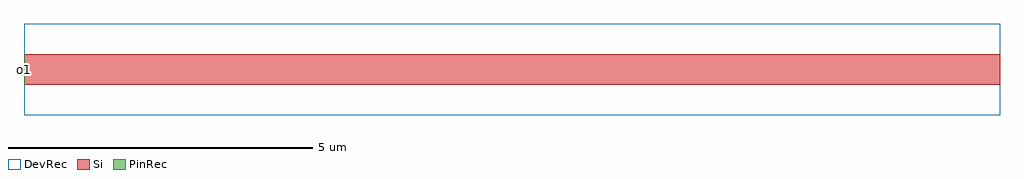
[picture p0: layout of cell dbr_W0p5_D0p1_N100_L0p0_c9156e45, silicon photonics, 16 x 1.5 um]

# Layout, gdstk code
from math import pi, radians
import gdstk
lib = gdstk.Library(unit=1e-6, precision=1e-09)
def R(c, l, rs):  # rectangles x0, y0, x1, y1
    for r in rs: c.add(gdstk.rectangle(r[:2], r[2:], *l))
Si = (1, 0)
PinRec = (1, 10)
DevRec = (68, 0)

straight_gdsfactorypcom_ = lib.new_cell('straight_gdsfactorypcom_6a17a846')
R(straight_gdsfactorypcom_, Si, [(0,-0.25,0.079,0.25)])
R(straight_gdsfactorypcom_, DevRec, [(0,-0.75,0.079,0.75)])

c_straight_gdsfactorypcom_ = lib.new_cell('straight_gdsfactorypcom_437d7d16')
R(c_straight_gdsfactorypcom_, Si, [(0,-0.25,0.01,0.25)])
R(c_straight_gdsfactorypcom_, DevRec, [(0,-0.75,0.01,0.75)])

dbr_cell_gdsfactorypcom_ = lib.new_cell('dbr_cell_gdsfactorypcom_daab304e')
R(dbr_cell_gdsfactorypcom_, Si, [(0,-0.25,0.158,0.25)])
R(dbr_cell_gdsfactorypcom_, DevRec, [(0,-0.75,0.158,0.75)])

dbr_gdsfactorypcomponen_ = lib.new_cell('dbr_gdsfactorypcomponen_872a4027')
dbr_gdsfactorypcomponen_.add(gdstk.Reference(c_straight_gdsfactorypcom_, (0,0), rotation=pi))
dbr_gdsfactorypcomponen_.add(gdstk.Reference(c_straight_gdsfactorypcom_, (15.899,0)))
r = gdstk.Reference(dbr_cell_gdsfactorypcom_, (0,0)); r.repetition = gdstk.Repetition(100, 1, v1=(0.159,0), v2=(0,0)); dbr_gdsfactorypcomponen_.add(r)

unnamed_165 = lib.new_cell('Unnamed_165')
unnamed_165.add(gdstk.Reference(straight_gdsfactorypcom_, (-0.089,0)))
unnamed_165.add(gdstk.Reference(dbr_gdsfactorypcomponen_, (0,0)))

dbr_w0p5_d0p1_n100_l0p0_ = lib.new_cell('dbr_W0p5_D0p1_N100_L0p0_c9156e45')
R(dbr_w0p5_d0p1_n100_l0p0_, DevRec, [(-0.089,-0.75,15.909,0.75)])
dbr_w0p5_d0p1_n100_l0p0_.add(gdstk.FlexPath([(-0.084,0),(-0.094,0)], 0.5, ends="flush", simple_path=True, layer=1, datatype=10))  # PinRec
dbr_w0p5_d0p1_n100_l0p0_.add(gdstk.Reference(unnamed_165, (0,0)))
dbr_w0p5_d0p1_n100_l0p0_.add(gdstk.Label('o1', (-0.089,0), layer=1, texttype=10))

lib.write_gds('dbr_W0p5_D0p1_N100_L0p0_c9156e45.gds')
